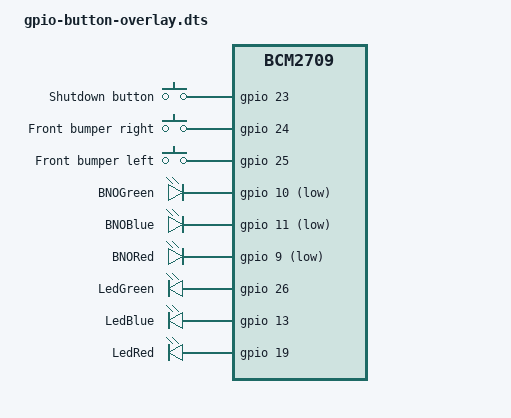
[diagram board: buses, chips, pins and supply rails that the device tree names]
/dts-v1/;
/plugin/;
/ {
	compatible = "brcm,bcm2835", "brcm,bcm2708", "brcm,bcm2709";

	fragment@0 {
		target-path = "/soc";
		__overlay__ {
			keypad: keypad {
				compatible = "gpio-keys";
				#address-cells = <1>;
				#size-cells = <0>;
				button@23 {
					label = "Shutdown button";
					linux,code = <116>;
					linux,input-type = <1 22>;
					gpios = <&gpio 23 0>;
				};
				button@24 {
					label = "Front bumper right";
					linux,code = <49>;
					linux,input-type = <1 22>;
					gpios = <&gpio 24 0>;
				};
				button@25 {
					label = "Front bumper left";
					linux,code = <49>;
					linux,input-type = <1 22>;
					gpios = <&gpio 25 0>;
				};
			};
		};
	};

	fragment@1 {
		target = <&leds>;
		__overlay__ {
			bnogreen: bnogreen {
				label = "BNOGreen";
				gpios = <&gpio 10 1>;
				linux,default-trigger = "mmc0";
			};

			bnoblue: bnoblue {
				label = "BNOBlue";
				gpios = <&gpio 11 1>;
			};

			bnored: bnored {
				label = "BNORed";
				gpios = <&gpio 9 1>;
			};

			ledgreen: ledgreen {
				label = "LedGreen";
				gpios = <&gpio 26 0>;
			};

			ledblue: ledblue {
				label = "LedBlue";
				gpios = <&gpio 13 0>;
			};

			ledred: ledred {
				label = "LedRed";
				gpios = <&gpio 19 0>;
			};
		};
	};
};
